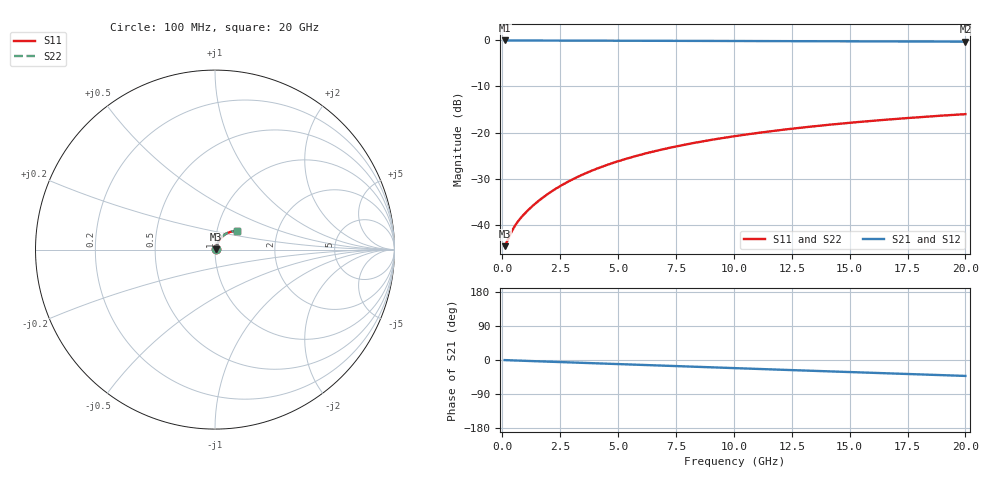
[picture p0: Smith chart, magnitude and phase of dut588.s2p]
! Touchstone file exported from HFSS 2026.1.0
!  File:  C:/ffzhzh/LocalFiles/Ansys_Project_Files/temp_train_BSMRDL_588_1783015826_55676.aedt
!  Generated:  02:11:43 AM Jul  3, 2026
!  Design:  BSMRDL
!  Project:  temp_train_BSMRDL_588_1783015826_55676
! Variables:
!  h_bsmrdl = 2.95um
!  h_ox = 20um
!  h_rdl = 5um
!  h_sub = 80um
!  h_tmrdl = 5um
!  h_tsv = 80um
!  h_via = 3um
!  l_bsmrdl = 739.35um
!  l_sub = 1139.35um
!  l_tmrdl = 200um
!  m_sub = 200um
!  pitch = 21.8um
!  r_tsv = 6um
!  s_tmrdl = 10um
!  w_bsmrdl = 15.82um
!  w_sub = 500um
!  w_tmrdl = 12um
!  x_tsv_center1 = 206um
!  x_tsv_center2 = 961.17um
!  x_tsv_center3 = 1173.17um
!  x_tsv_center4 = 1928.34um
!  x_tsv_center5 = 2140.34um
!  x_tsv_center6 = 2895.51um
# GHz S MA R 50.000000
! Terminal data exported
! Port[1] = BSM_RDL1_1_T1
! Port[2] = BSM_RDL1_1_T2
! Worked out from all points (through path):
!   200 points, 100 MHz to 20 GHz, reference 50 ohm
!   highest |S21| = -0.05 dB at 100 MHz (marker M1); lowest = -0.3 dB at 20 GHz (marker M2)
!   group delay of S21, straight-line fit = 5.82 ps
!   lowest |S11| = -44.5 dB at 100 MHz (marker M3), VSWR 1.01, Z = 50.6 + j0.147 ohm
!   |S11| at or under -10 dB: start of sweep to end of sweep
!   |S22| runs from -44.5 to -16.0 dB; largest |S21 - S12| = 3.5e-15
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0.1  0.005942 14.2  0.9942 -0.2  0.9942 -0.2  0.005942 14.2
! Gamma 0 0 0 0
! Port Impedance 50 0 50 0
0.2  0.006645 25.2  0.994 -0.5  0.994 -0.5  0.006645 25.2
0.4  0.008507 37.7  0.9933 -1.0  0.9933 -1.0  0.008506 37.7
0.5  0.009437 41.3  0.993 -1.2  0.993 -1.2  0.009436 41.3
0.6  0.01033 44.1  0.9927 -1.4  0.9927 -1.4  0.01033 44.1
0.7  0.01118 46.4  0.9925 -1.6  0.9925 -1.6  0.01118 46.4
0.9  0.01283 50.2  0.9921 -2.0  0.9921 -2.0  0.01283 50.3
1.2  0.01528 54.8  0.9917 -2.7  0.9917 -2.7  0.01528 54.8
1.7  0.01948 60.0  0.9912 -3.8  0.9912 -3.8  0.01947 60.0
2.2  0.02384 63.2  0.9909 -4.8  0.9909 -4.8  0.02384 63.2
2.8  0.02922 65.4  0.9904 -6.1  0.9904 -6.1  0.02922 65.4
3.5  0.03558 66.6  0.9897 -7.6  0.9897 -7.6  0.03558 66.6
4.2  0.04195 66.8  0.989 -9.1  0.989 -9.1  0.04195 66.9
5  0.04918 66.5  0.9881 -10.9  0.9881 -10.9  0.04918 66.6
5.9  0.0572 65.6  0.9869 -12.8  0.9869 -12.8  0.0572 65.7
6.8  0.06506 64.4  0.9857 -14.7  0.9857 -14.7  0.06506 64.5
8.3  0.07777 62.1  0.9834 -17.9  0.9834 -17.9  0.07776 62.1
10.1  0.09231 58.9  0.9806 -21.7  0.9806 -21.7  0.09231 59.0
11.7  0.1046 56.0  0.978 -25.0  0.978 -25.0  0.1046 56.1
13.4  0.117 52.8  0.9752 -28.5  0.9752 -28.5  0.117 52.9
16.7  0.1392 46.6  0.9701 -35.3  0.9701 -35.3  0.1392 46.7
20  0.1589 40.3  0.9653 -42.0  0.9653 -42.0  0.1589 40.5
